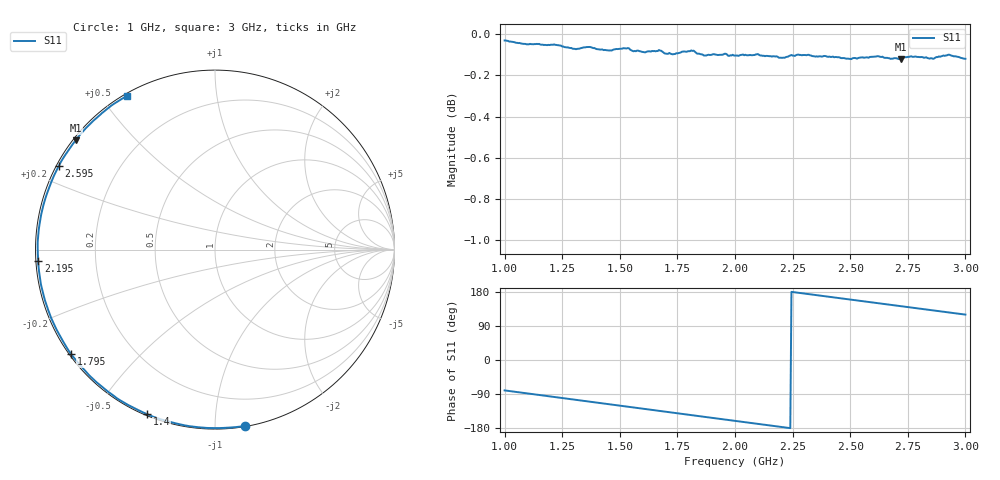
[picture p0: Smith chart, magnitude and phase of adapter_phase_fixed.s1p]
!  02.03.2026  10:50:04
! Ref Plane: 0.000 mm
# MHZ S MA R  50
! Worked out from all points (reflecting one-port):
!   401 points, 1 GHz to 3 GHz, reference 50 ohm
!   lowest |S11| = -0.1 dB at 2.72 GHz (marker M1), VSWR 142.37, Z = 0.393 + j17.3 ohm
!   phase of S11 starts at -80 deg and turns -160 deg over the sweep
!   S11 on the Smith chart (normalised r, x): 1 GHz: 0.00, -1.19; 1.4 GHz: 0.01, -0.67; 1.795 GHz: 0.01, -0.32; 2.195 GHz: 0.01, -0.03; 2.595 GHz: 0.01, +0.25; 3 GHz: 0.01, +0.58
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1000  0.9966 -80.2
1010  0.9964 -81.0
1070  0.9949 -85.8
1135  0.9945 -91.1
1205  0.9942 -96.7
1250  0.9932 -100.3
1345  0.9927 -108.0
1400  0.9917 -112.3
1500  0.992 -120.4
1545  0.9914 -123.9
1650  0.9907 -132.5
1750  0.9894 -140.5
1795  0.9906 -144.2
1910  0.9889 -153.5
2000  0.9882 -160.6
2095  0.9889 -168.3
2195  0.9869 -176.2
2250  0.9882 179.4
2315  0.9885 174.3
2380  0.9877 169.0
2500  0.9863 159.5
2595  0.9875 151.9
2645  0.9871 147.9
2720  0.986 141.9
2750  0.9875 139.5
2820  0.9869 134.1
2895  0.9878 128.0
3000  0.9864 119.8
